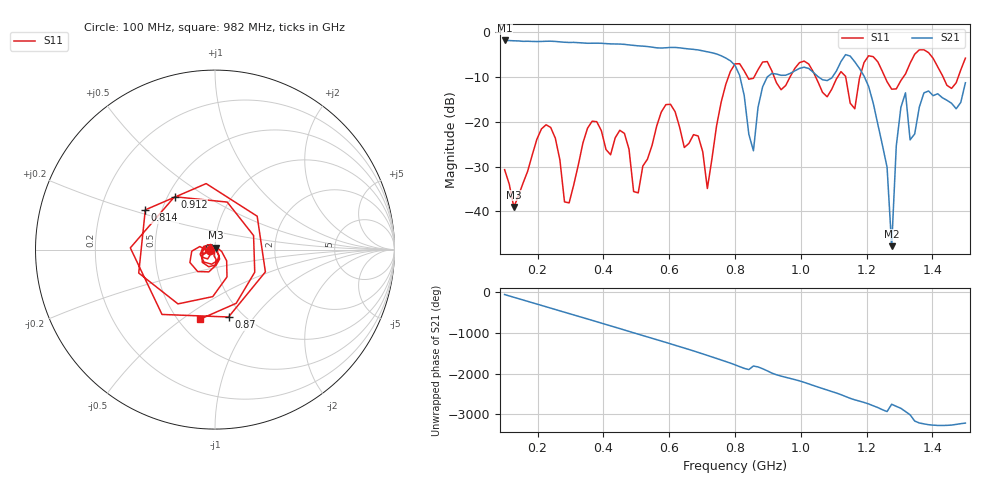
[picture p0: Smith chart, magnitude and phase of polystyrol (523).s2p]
! NanoVNA-App
! Date: 2025-09-25 15:33:57
! Start: 100MHz Stop: 1,5GHz Points: 101
! S-Parameter data: F S11 S21 S12 S22
# Hz S RI R 50
!  Frequency  S11_Real  S11_Imag  S21_Real  S21_Imag  S12_Real  S12_Imag  S22_Real  S22_Imag
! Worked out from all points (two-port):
!   101 points, 100 MHz to 1.5 GHz, reference 50 ohm
!   highest |S21| = -1.80 dB at 100 MHz (marker M1); lowest = -47.8 dB at 1.276 GHz (marker M2)
!   |S21| within 3 dB of the highest: start of sweep to 743 MHz
!   lowest |S11| = -39.1 dB at 128 MHz (marker M3), VSWR 1.02, Z = 50.3 + j1.07 ohm
!   |S11| at or under -10 dB: start of sweep to 779.9 MHz; 1.045 GHz to 1.112 GHz (66.21 MHz wide, 6.14 % of centre); 1.256 GHz to 1.311 GHz (55.62 MHz wide, 4.33 % of centre) (the widest 3 of 7)
!   S12 and S22 are empty: the file has one direction only
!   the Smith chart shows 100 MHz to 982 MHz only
!   S11 on the Smith chart (normalised r, x): 100 MHz: 0.94, -0.01; 814 MHz: 0.40, +0.22; 870 MHz: 0.86, -0.75; 912 MHz: 0.54, +0.37; 982 MHz: 0.63, -0.59
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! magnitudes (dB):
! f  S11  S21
! 100 MHz  -30.7  -1.8
! 128 MHz  -39.1  -1.9
! 212 MHz  -21.6  -2.0
! 282 MHz  -37.9  -2.2
! 338 MHz  -24.7  -2.4
! 506 MHz  -35.9  -3.0
! 576 MHz  -17.8  -3.5
! 716 MHz  -34.9  -4.3
! 800 MHz  -7.0  -7.4
! 814 MHz  -7.0  -9.6
! 856 MHz  -10.3  -26.5
! 870 MHz  -8.3  -16.7
! 912 MHz  -8.6  -9.2
! 982 MHz  -8.0  -8.6
! 1.038 GHz  -8.8  -8.9
! 1.192 GHz  -6.7  -9.8
! 1.262 GHz  -11.0  -30.1
! 1.276 GHz  -12.7  -47.8
! 1.29 GHz  -12.6  -25.4
! 1.318 GHz  -9.3  -13.5
! 1.332 GHz  -6.9  -24.0
! 1.5 GHz  -5.8  -11.3
